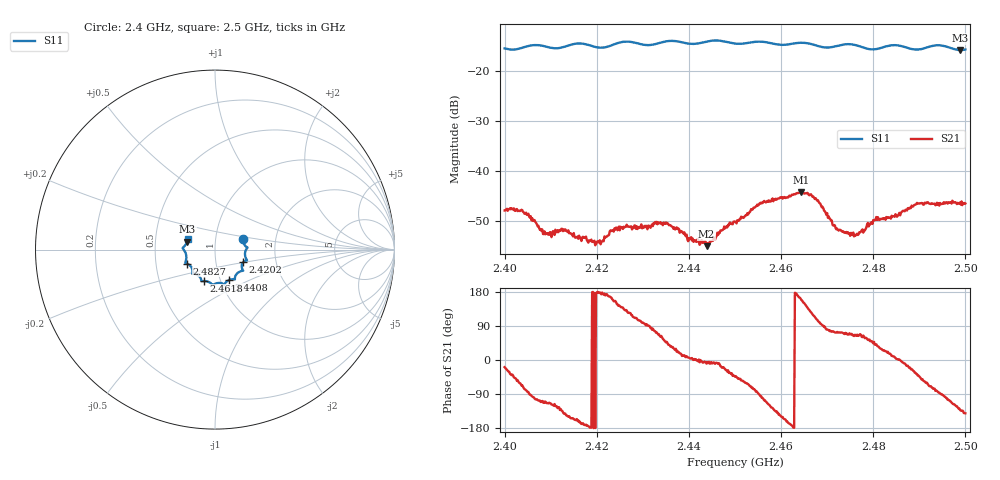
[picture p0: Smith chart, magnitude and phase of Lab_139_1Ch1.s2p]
# Hz S RI R 50
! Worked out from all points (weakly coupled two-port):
!   601 points, 2.4 GHz to 2.5 GHz, reference 50 ohm
!   highest |S21| = -44.32 dB at 2.4643 GHz (marker M1); lowest = -55.1 dB at 2.4438 GHz (marker M2)
!   lowest |S11| = -15.8 dB at 2.4988 GHz (marker M3), VSWR 1.38, Z = 36.4 + j3.33 ohm
!   |S11| at or under -10 dB: start of sweep to end of sweep
!   S12 and S22 are empty: the file has one direction only
!   S11 on the Smith chart (normalised r, x): 2.4 GHz: 1.36, +0.17; 2.4202 GHz: 1.36, -0.20; 2.4408 GHz: 1.10, -0.39; 2.4618 GHz: 0.84, -0.30; 2.4827 GHz: 0.72, -0.12; 2.5 GHz: 0.73, +0.09
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2.4e9  0.1562 0.0617  0.00378 -0.00129  0 0  0 0
2.404167e9  0.1715 0.0178  0.00102 -0.00368  0 0  0 0
2.408833e9  0.1756 0.00394  -0.000778 -0.00218  0 0  0 0
2.412833e9  0.1692 -0.0394  -0.00201 -0.00162  0 0  0 0
2.416667e9  0.1782 -0.0595  -0.00194 -0.000381  0 0  0 0
2.420167e9  0.1567 -0.0706  -0.00197 1.01e-06  0 0  0 0
2.424333e9  0.1529 -0.1101  -0.00228 0.00144  0 0  0 0
2.433333e9  0.112 -0.1521  0.00117 0.00281  0 0  0 0
2.440833e9  0.0789 -0.1689  0.00209 4.14e-05  0 0  0 0
2.443833e9  0.0567 -0.1882  0.00173 -0.000293  0 0  0 0
2.45e9  0.0278 -0.1858  0.00222 -0.00216  0 0  0 0
2.455833e9  -0.0139 -0.1954  -0.000825 -0.00473  0 0  0 0
2.461833e9  -0.0603 -0.1752  -0.00551 -0.00118  0 0  0 0
2.464333e9  -0.0742 -0.1762  -0.00571 0.00209  0 0  0 0
2.466667e9  -0.0769 -0.1684  -0.00308 0.00472  0 0  0 0
2.471667e9  -0.1116 -0.1357  0.000844 0.00271  0 0  0 0
2.4745e9  -0.1268 -0.1352  0.000957 0.00222  0 0  0 0
2.482667e9  -0.1572 -0.0778  0.00297 0.00127  0 0  0 0
2.483333e9  -0.1613 -0.0763  0.00325 0.00107  0 0  0 0
2.49e9  -0.1629 -0.0226  0.0034 -0.00322  0 0  0 0
2.498833e9  -0.1551 0.0445  -0.00321 -0.0036  0 0  0 0
2.5e9  -0.1519 0.0616  -0.00364 -0.00298  0 0  0 0
